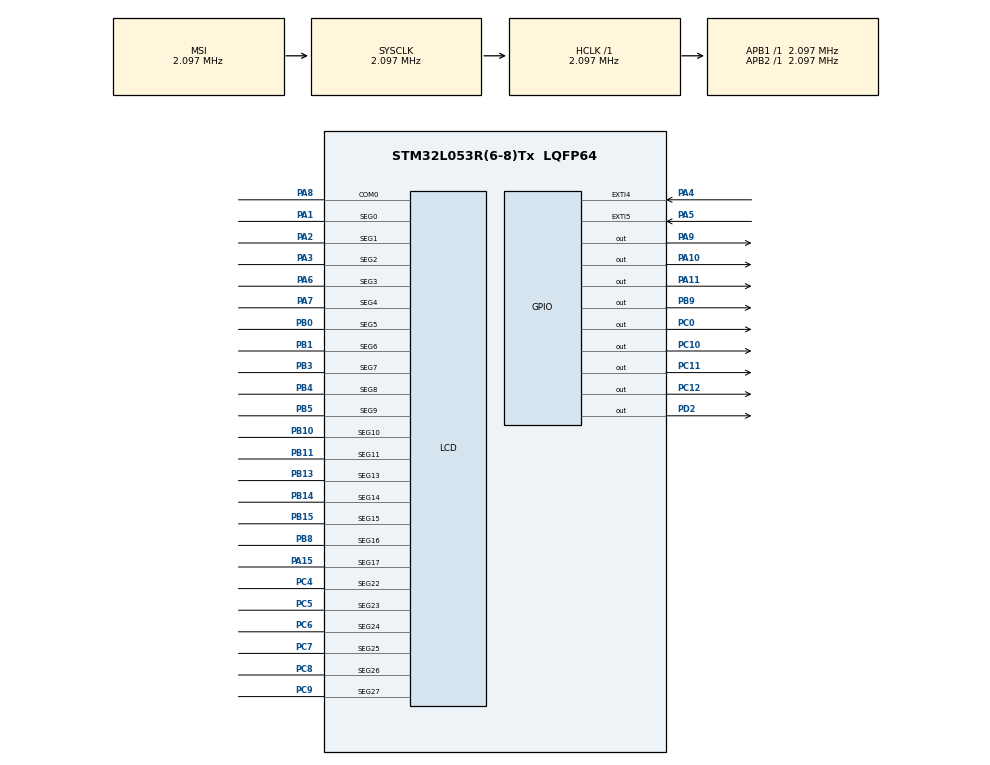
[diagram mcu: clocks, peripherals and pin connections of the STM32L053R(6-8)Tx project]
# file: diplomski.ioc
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LCD.Divider=LCD_DIVIDER_17
LCD.PulseOnDuration=LCD_PULSEONDURATION_6
LCD.VoltageSource=LCD_VOLTAGESOURCE_EXTERNAL
Mcu.Family=STM32L0
Mcu.Name=STM32L053R(6-8)Tx
Mcu.Package=LQFP64
NVIC.EXTI4_15_IRQn=true\:0\:0\:false\:false\:true\:true\:true\:true
NVIC.TIM21_IRQn=true\:0\:0\:false\:false\:true\:true\:true\:true
NVIC.TIM22_IRQn=true\:0\:0\:false\:false\:true\:true\:true\:true
NVIC.TIM2_IRQn=true\:0\:0\:false\:false\:true\:true\:true\:true
PA1.Mode=SEG0
PA1.Signal=LCD_SEG0
PA10.GPIO_PuPd=GPIO_PULLDOWN
PA10.Signal=GPIO_Output
PA11.GPIO_PuPd=GPIO_PULLDOWN
PA11.Signal=GPIO_Output
PA13.Mode=Serial_Wire
PA13.Signal=SYS_SWDIO
PA14.Mode=Serial_Wire
PA14.Signal=SYS_SWCLK
PA15.Mode=SEG17
PA15.Signal=LCD_SEG17
PA2.Mode=SEG1
PA2.Signal=LCD_SEG1
PA3.Mode=SEG2
PA3.Signal=LCD_SEG2
PA4.GPIO_ModeDefaultEXTI=GPIO_MODE_IT_FALLING
PA4.Signal=GPXTI4
PA5.GPIO_ModeDefaultEXTI=GPIO_MODE_IT_FALLING
PA5.Signal=GPXTI5
PA6.Mode=SEG3
PA6.Signal=LCD_SEG3
PA7.Mode=SEG4
PA7.Signal=LCD_SEG4
PA8.Mode=Static
PA8.Signal=LCD_COM0
PA9.GPIO_PuPd=GPIO_PULLDOWN
PA9.Signal=GPIO_Output
PB0.Mode=SEG5
PB0.Signal=LCD_SEG5
PB1.Mode=SEG6
PB1.Signal=LCD_SEG6
PB10.Mode=SEG10
PB10.Signal=LCD_SEG10
PB11.Mode=SEG11
PB11.Signal=LCD_SEG11
PB13.Mode=SEG13
PB13.Signal=LCD_SEG13
PB14.Mode=SEG14
PB14.Signal=LCD_SEG14
PB15.Mode=SEG15
PB15.Signal=LCD_SEG15
PB3.Mode=SEG7
PB3.Signal=LCD_SEG7
PB4.Mode=SEG8
PB4.Signal=LCD_SEG8
PB5.Mode=SEG9
PB5.Signal=LCD_SEG9
PB8.Mode=SEG16
PB8.Signal=LCD_SEG16
PB9.GPIO_PuPd=GPIO_PULLDOWN
PB9.Signal=GPIO_Output
PC0.GPIO_PuPd=GPIO_PULLDOWN
PC0.Signal=GPIO_Output
PC10.GPIO_PuPd=GPIO_PULLDOWN
PC10.Signal=GPIO_Output
PC11.GPIO_PuPd=GPIO_PULLDOWN
PC11.Signal=GPIO_Output
PC12.GPIO_PuPd=GPIO_PULLDOWN
PC12.Signal=GPIO_Output
PC14-OSC32_IN.Mode=LSE-External-Oscillator
PC14-OSC32_IN.Signal=RCC_OSC32_IN
PC15-OSC32_OUT.Mode=LSE-External-Oscillator
PC15-OSC32_OUT.Signal=RCC_OSC32_OUT
PC4.Mode=SEG22
PC4.Signal=LCD_SEG22
PC5.Mode=SEG23
PC5.Signal=LCD_SEG23
PC6.Mode=SEG24
PC6.Signal=LCD_SEG24
PC7.Mode=SEG25
PC7.Signal=LCD_SEG25
PC8.Mode=SEG26
PC8.Signal=LCD_SEG26
PC9.Mode=SEG27
PC9.Signal=LCD_SEG27
PD2.GPIO_PuPd=GPIO_PULLDOWN
PD2.Signal=GPIO_Output
ProjectManager.HeapSize=0x200
ProjectManager.StackSize=0x400
ProjectManager.TargetToolchain=STM32CubeIDE
RCC.AHBFreq_Value=2097000
RCC.APB1Freq_Value=2097000
RCC.APB1TimFreq_Value=2097000
RCC.APB2Freq_Value=2097000
RCC.APB2TimFreq_Value=2097000
RCC.HSE_VALUE=8000000
RCC.HSI16_VALUE=16000000
RCC.HSI48_VALUE=48000000
RCC.HSI_VALUE=16000000
RCC.MSI_VALUE=2097000
RCC.SYSCLKFreq_VALUE=2097000
RCC.VCOOutputFreq_Value=48000000
TIM2.Period=200
TIM2.Prescaler=20970-1
TIM21.Period=100
TIM21.Prescaler=10-1
TIM22.Prescaler=64-1
VP_TIM21_VS_ClockSourceINT.Mode=Internal
VP_TIM22_VS_ClockSourceINT.Mode=Internal
VP_TIM2_VS_ClockSourceINT.Mode=Internal
board=custom

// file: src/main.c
/* USER CODE BEGIN Header */
/**
  ******************************************************************************
  * @file           : main.c
  * @brief          : Main program body
  ******************************************************************************
  * @attention
  *
  * Copyright (c) 2023 STMicroelectronics.
  * All rights reserved.
  *
  * This software is licensed under terms that can be found in the LICENSE file
  * in the root directory of this software component.
  * If no LICENSE file comes with this software, it is provided AS-IS.
  *
  ******************************************************************************
  */
/* USER CODE END Header */
#include "main.h"

/* USER CODE BEGIN PD */
#define UART_MESSAGE_CHARACTER_COUNT (5)

//DIGITS ARE COUNTED LEFT TO RIGHT, STARTING FROM 1
//DEFINE ACTIVE SEGMENTS FOR EACH DIGIT
#define LCD_DIGIT1_0	(0x00010307)
#define LCD_DIGIT1_1	(0x00000104)
#define LCD_DIGIT1_2	(0x08000303)
#define LCD_DIGIT1_3	(0x08000306)
#define LCD_DIGIT1_4	(0x08010104)
#define LCD_DIGIT1_5	(0x08010206)
#define LCD_DIGIT1_6	(0x08010207)
#define LCD_DIGIT1_7	(0x00000304)
#define LCD_DIGIT1_8	(0x08010307)
#define LCD_DIGIT1_9	(0x08010306)

//#define LCD_DP_1		(0x00000008)

#define LCD_DIGIT2_0	(0x06C20010)
#define LCD_DIGIT2_1	(0x02800000)
#define LCD_DIGIT2_2	(0x06400090)
#define LCD_DIGIT2_3	(0x06C00080)
#define LCD_DIGIT2_4	(0x02820080)
#define LCD_DIGIT2_5	(0x04C20080)
#define LCD_DIGIT2_6	(0x04C20090)
#define LCD_DIGIT2_7	(0x06800000)
#define LCD_DIGIT2_8	(0x06C20090)
#define LCD_DIGIT2_9	(0x06C20080)

#define LCD_DP_2		(0x00000020)

#define LCD_DIGIT3_0	(0x0000EC40)
#define LCD_DIGIT3_1	(0x00002800)
#define LCD_DIGIT3_2	(0x01006440)
#define LCD_DIGIT3_3	(0x01006C00)
#define LCD_DIGIT3_4	(0x0100A800)
#define LCD_DIGIT3_5	(0x0100CC00)
#define LCD_DIGIT3_6	(0x0100CC40)
#define LCD_DIGIT3_7	(0x00006800)
#define LCD_DIGIT3_8	(0x0100EC40)
#define LCD_DIGIT3_9	(0x0100EC00)

#define HTIM22_FREQUENCY	(32768)

#define WHEEL_CIRCUMFERENCE	(2.105)
/* USER CODE END PD */

LCD_HandleTypeDef hlcd;

TIM_HandleTypeDef htim2;
TIM_HandleTypeDef htim21;
TIM_HandleTypeDef htim22;

/* USER CODE BEGIN PV */
volatile uint8_t magnetCounter = 0;	//count magnet passes
volatile uint32_t rotationTimerCounts = 0;	//measure time it takes for (magnetCounter) times of the wheel rotation, in timer counts
volatile uint8_t timer2sFlag = 0;	//flag to indicate 2s timer has run out
volatile uint8_t TIM22startedFlag = 0;
/* USER CODE END PV */

void SystemClock_Config(void);
static void MX_GPIO_Init(void);
static void MX_TIM21_Init(void);
static void MX_LCD_Init(void);
static void MX_TIM2_Init(void);
static void MX_TIM22_Init(void);

int main(void)
{

  /* MCU Configuration--------------------------------------------------------*/

  /* Reset of all peripherals, Initializes the Flash interface and the Systick. */
  HAL_Init();

  /* Configure the system clock */
  SystemClock_Config();

  /* Initialize all configured peripherals */
  MX_GPIO_Init();
  MX_TIM21_Init();
  MX_LCD_Init();
  MX_TIM2_Init();
  MX_TIM22_Init();
  /* USER CODE BEGIN 2 */

  HAL_TIM_Base_Start_IT(&htim2); //start timer

  HAL_GPIO_WritePin(GPIOC, GPIO_PIN_0, GPIO_PIN_SET);		//keep device ON

  uint32_t lookupDigit1[10];								//initialize array that will server as a lookup table for DIGIT1
  uint32_t lookupDigit2[10];								//initialize array that will server as a lookup table for DIGIT2
  uint32_t lookupDigit3[10];								//initialize array that will server as a lookup table for DIGIT3

  uint8_t speedDigits[UART_MESSAGE_CHARACTER_COUNT];	//initialize array containing the UART message
  uint8_t localMagnetCounter = 0;						//initialize local magnet pass counter

  float speed;

  speedDigits[0] = '0';
  speedDigits[1] = '0';
  speedDigits[2] = '.';
  speedDigits[3] = '0';
  speedDigits[4] = '\n';

  lookupDigit1[0] = LCD_DIGIT1_0;
  lookupDigit1[1] = LCD_DIGIT1_1;
  lookupDigit1[2] = LCD_DIGIT1_2;
  lookupDigit1[3] = LCD_DIGIT1_3;
  lookupDigit1[4] = LCD_DIGIT1_4;
  lookupDigit1[5] = LCD_DIGIT1_5;
  lookupDigit1[6] = LCD_DIGIT1_6;
  lookupDigit1[7] = LCD_DIGIT1_7;
  lookupDigit1[8] = LCD_DIGIT1_8;
  lookupDigit1[9] = LCD_DIGIT1_9;

  lookupDigit2[0] = LCD_DIGIT2_0;
  lookupDigit2[1] = LCD_DIGIT2_1;
  lookupDigit2[2] = LCD_DIGIT2_2;
  lookupDigit2[3] = LCD_DIGIT2_3;
  lookupDigit2[4] = LCD_DIGIT2_4;
  lookupDigit2[5] = LCD_DIGIT2_5;
  lookupDigit2[6] = LCD_DIGIT2_6;
  lookupDigit2[7] = LCD_DIGIT2_7;
  lookupDigit2[8] = LCD_DIGIT2_8;
  lookupDigit2[9] = LCD_DIGIT2_9;

  lookupDigit3[0] = LCD_DIGIT3_0;
  lookupDigit3[1] = LCD_DIGIT3_1;
  lookupDigit3[2] = LCD_DIGIT3_2;
  lookupDigit3[3] = LCD_DIGIT3_3;
  lookupDigit3[4] = LCD_DIGIT3_4;
  lookupDigit3[5] = LCD_DIGIT3_5;
  lookupDigit3[6] = LCD_DIGIT3_6;
  lookupDigit3[7] = LCD_DIGIT3_7;
  lookupDigit3[8] = LCD_DIGIT3_8;
  lookupDigit3[9] = LCD_DIGIT3_9;

  uint8_t digit1 = 0;
  uint8_t digit2 = 0;
  uint8_t digit3 = 0;

  float rotationTime = 0;	//The time it took to complete (magnetCounter) wheel rotation cycles
  HAL_GPIO_WritePin(GPIOB, GPIO_PIN_9, GPIO_PIN_SET);
  HAL_GPIO_WritePin(GPIOA, GPIO_PIN_11, GPIO_PIN_SET);
  /* USER CODE END 2 */

  /* Infinite loop */
  while (1)
  {
	  __disable_irq();	//disable interrupts while reading the two second timer flag
	  if(timer2sFlag){
		  localMagnetCounter = magnetCounter;					//copy magnet pass counter to local variable
		  magnetCounter = 0;									//reset magnet counter
		  timer2sFlag = 0;										//clear flag
		  rotationTime = (float)rotationTimerCounts/(32764);	//calculate total time it took to complete (magnetCounter) rotations
		  rotationTimerCounts=0;								//reset the rotation timer counter
		  __enable_irq();										//enable interrupts only after finishing access to the shared variables

		  //speed = localMagnetCounter*1.0525;	//calculate speed based on the number of magnet passes within the two second interval.
												//1.0525 comes from: D*pi/2s, where D is the wheel diameter, 0.67m

		  if(rotationTime == 0){
			  speed = 0;
			  //speed = (localMagnetCounter*WHEEL_CIRCUMFERENCE)/2;
		  }
		  else{
			  speed = (localMagnetCounter*WHEEL_CIRCUMFERENCE)/rotationTime;	//SPEED IS IN m/s!!!
		  }

		  //convert speed to KM/H
		  speed = speed*3.6;

		  // Extract the last two digits before the decimal
		  digit1= ((int)speed / 10) % 10;	//convert calculated digits to their ascii code by adding ascii code for '0'
		  speedDigits[0] = digit1 + '0';

		  digit2 = (int)speed % 10;
		  speedDigits[1] = digit2 + '0';

		  // Extract the first digit after the decimal point
		  digit3 = ((int)(speed * 10) % 10);
		  speedDigits[3] = digit3 + '0';

		  //HAL_UART_Transmit(&huart2, speedDigits, UART_MESSAGE_CHARACTER_COUNT, 100);

		  //write digits on LCD
		  HAL_LCD_Write(&hlcd, LCD_RAM_REGISTER0, ~0xFFFFFFFF, 0);	//clear RAM
		  HAL_LCD_Write(&hlcd, LCD_RAM_REGISTER0, ~0xFFFFFFFF, (lookupDigit1[digit1] | lookupDigit2[digit2] | lookupDigit3[digit3] | LCD_DP_2));
		  HAL_LCD_UpdateDisplayRequest(&hlcd);
	  }
	  else{
		  __enable_irq();	//enable interrupts immediately after reading flag if flag was not set
	  }

	  HAL_Delay(5);
  }
}

void SystemClock_Config(void)
{
  RCC_OscInitTypeDef RCC_OscInitStruct = {0};
  RCC_ClkInitTypeDef RCC_ClkInitStruct = {0};
  RCC_PeriphCLKInitTypeDef PeriphClkInit = {0};

  /** Configure the main internal regulator output voltage
  */
  __HAL_PWR_VOLTAGESCALING_CONFIG(PWR_REGULATOR_VOLTAGE_SCALE1);

  /** Initializes the RCC Oscillators according to the specified parameters
  * in the RCC_OscInitTypeDef structure.
  */
  RCC_OscInitStruct.OscillatorType = RCC_OSCILLATORTYPE_LSI|RCC_OSCILLATORTYPE_MSI;
  RCC_OscInitStruct.LSIState = RCC_LSI_ON;
  RCC_OscInitStruct.MSIState = RCC_MSI_ON;
  RCC_OscInitStruct.MSICalibrationValue = 0;
  RCC_OscInitStruct.MSIClockRange = RCC_MSIRANGE_5;
  RCC_OscInitStruct.PLL.PLLState = RCC_PLL_NONE;
  if (HAL_RCC_OscConfig(&RCC_OscInitStruct) != HAL_OK)
  {
    Error_Handler();
  }

  /** Initializes the CPU, AHB and APB buses clocks
  */
  RCC_ClkInitStruct.ClockType = RCC_CLOCKTYPE_HCLK|RCC_CLOCKTYPE_SYSCLK
                              |RCC_CLOCKTYPE_PCLK1|RCC_CLOCKTYPE_PCLK2;
  RCC_ClkInitStruct.SYSCLKSource = RCC_SYSCLKSOURCE_MSI;
  RCC_ClkInitStruct.AHBCLKDivider = RCC_SYSCLK_DIV1;
  RCC_ClkInitStruct.APB1CLKDivider = RCC_HCLK_DIV1;
  RCC_ClkInitStruct.APB2CLKDivider = RCC_HCLK_DIV1;

  if (HAL_RCC_ClockConfig(&RCC_ClkInitStruct, FLASH_LATENCY_0) != HAL_OK)
  {
    Error_Handler();
  }
  PeriphClkInit.PeriphClockSelection = RCC_PERIPHCLK_RTC;
  PeriphClkInit.RTCClockSelection = RCC_RTCCLKSOURCE_LSI;
  if (HAL_RCCEx_PeriphCLKConfig(&PeriphClkInit) != HAL_OK)
  {
    Error_Handler();
  }
}

static void MX_LCD_Init(void)
{

  hlcd.Instance = LCD;
  hlcd.Init.Prescaler = LCD_PRESCALER_1;
  hlcd.Init.Divider = LCD_DIVIDER_17;
  hlcd.Init.Duty = LCD_DUTY_STATIC;
  hlcd.Init.Bias = LCD_BIAS_1_4;
  hlcd.Init.VoltageSource = LCD_VOLTAGESOURCE_EXTERNAL;
  hlcd.Init.Contrast = LCD_CONTRASTLEVEL_0;
  hlcd.Init.DeadTime = LCD_DEADTIME_0;
  hlcd.Init.PulseOnDuration = LCD_PULSEONDURATION_6;
  hlcd.Init.HighDrive = LCD_HIGHDRIVE_0;
  hlcd.Init.BlinkMode = LCD_BLINKMODE_OFF;
  hlcd.Init.BlinkFrequency = LCD_BLINKFREQUENCY_DIV8;
  hlcd.Init.MuxSegment = LCD_MUXSEGMENT_DISABLE;
  if (HAL_LCD_Init(&hlcd) != HAL_OK)
  {
    Error_Handler();
  }

}

static void MX_TIM2_Init(void)
{

  TIM_ClockConfigTypeDef sClockSourceConfig = {0};
  TIM_MasterConfigTypeDef sMasterConfig = {0};

  htim2.Instance = TIM2;
  htim2.Init.Prescaler = 20970-1;
  htim2.Init.CounterMode = TIM_COUNTERMODE_UP;
  htim2.Init.Period = 200;
  htim2.Init.ClockDivision = TIM_CLOCKDIVISION_DIV1;
  htim2.Init.AutoReloadPreload = TIM_AUTORELOAD_PRELOAD_DISABLE;
  if (HAL_TIM_Base_Init(&htim2) != HAL_OK)
  {
    Error_Handler();
  }
  sClockSourceConfig.ClockSource = TIM_CLOCKSOURCE_INTERNAL;
  if (HAL_TIM_ConfigClockSource(&htim2, &sClockSourceConfig) != HAL_OK)
  {
    Error_Handler();
  }
  sMasterConfig.MasterOutputTrigger = TIM_TRGO_RESET;
  sMasterConfig.MasterSlaveMode = TIM_MASTERSLAVEMODE_DISABLE;
  if (HAL_TIMEx_MasterConfigSynchronization(&htim2, &sMasterConfig) != HAL_OK)
  {
    Error_Handler();
  }

}

static void MX_TIM21_Init(void)
{

  TIM_ClockConfigTypeDef sClockSourceConfig = {0};
  TIM_MasterConfigTypeDef sMasterConfig = {0};

  htim21.Instance = TIM21;
  htim21.Init.Prescaler = 10-1;
  htim21.Init.CounterMode = TIM_COUNTERMODE_UP;
  htim21.Init.Period = 100;
  htim21.Init.ClockDivision = TIM_CLOCKDIVISION_DIV1;
  htim21.Init.AutoReloadPreload = TIM_AUTORELOAD_PRELOAD_DISABLE;
  if (HAL_TIM_Base_Init(&htim21) != HAL_OK)
  {
    Error_Handler();
  }
  sClockSourceConfig.ClockSource = TIM_CLOCKSOURCE_INTERNAL;
  if (HAL_TIM_ConfigClockSource(&htim21, &sClockSourceConfig) != HAL_OK)
  {
    Error_Handler();
  }
  sMasterConfig.MasterOutputTrigger = TIM_TRGO_RESET;
  sMasterConfig.MasterSlaveMode = TIM_MASTERSLAVEMODE_DISABLE;
  if (HAL_TIMEx_MasterConfigSynchronization(&htim21, &sMasterConfig) != HAL_OK)
  {
    Error_Handler();
  }

}

static void MX_TIM22_Init(void)
{

  TIM_ClockConfigTypeDef sClockSourceConfig = {0};
  TIM_MasterConfigTypeDef sMasterConfig = {0};

  htim22.Instance = TIM22;
  htim22.Init.Prescaler = 64-1;
  htim22.Init.CounterMode = TIM_COUNTERMODE_UP;
  htim22.Init.Period = 65535;
  htim22.Init.ClockDivision = TIM_CLOCKDIVISION_DIV1;
  htim22.Init.AutoReloadPreload = TIM_AUTORELOAD_PRELOAD_DISABLE;
  if (HAL_TIM_Base_Init(&htim22) != HAL_OK)
  {
    Error_Handler();
  }
  sClockSourceConfig.ClockSource = TIM_CLOCKSOURCE_INTERNAL;
  if (HAL_TIM_ConfigClockSource(&htim22, &sClockSourceConfig) != HAL_OK)
  {
    Error_Handler();
  }
  sMasterConfig.MasterOutputTrigger = TIM_TRGO_RESET;
  sMasterConfig.MasterSlaveMode = TIM_MASTERSLAVEMODE_DISABLE;
  if (HAL_TIMEx_MasterConfigSynchronization(&htim22, &sMasterConfig) != HAL_OK)
  {
    Error_Handler();
  }

}

static void MX_GPIO_Init(void)
{
  GPIO_InitTypeDef GPIO_InitStruct = {0};

  /* GPIO Ports Clock Enable */
  __HAL_RCC_GPIOC_CLK_ENABLE();
  __HAL_RCC_GPIOA_CLK_ENABLE();
  __HAL_RCC_GPIOB_CLK_ENABLE();
  __HAL_RCC_GPIOD_CLK_ENABLE();

  /*Configure GPIO pin Output Level */
  HAL_GPIO_WritePin(GPIOC, GPIO_PIN_0|GPIO_PIN_10|GPIO_PIN_11|GPIO_PIN_12, GPIO_PIN_RESET);

  /*Configure GPIO pin Output Level */
  HAL_GPIO_WritePin(GPIOA, GPIO_PIN_9|GPIO_PIN_10|GPIO_PIN_11, GPIO_PIN_RESET);

  /*Configure GPIO pin Output Level */
  HAL_GPIO_WritePin(GPIOD, GPIO_PIN_2, GPIO_PIN_RESET);

  /*Configure GPIO pin Output Level */
  HAL_GPIO_WritePin(GPIOB, GPIO_PIN_9, GPIO_PIN_RESET);

  /*Configure GPIO pins : PC0 PC10 PC11 PC12 */
  GPIO_InitStruct.Pin = GPIO_PIN_0|GPIO_PIN_10|GPIO_PIN_11|GPIO_PIN_12;
  GPIO_InitStruct.Mode = GPIO_MODE_OUTPUT_PP;
  GPIO_InitStruct.Pull = GPIO_PULLDOWN;
  GPIO_InitStruct.Speed = GPIO_SPEED_FREQ_LOW;
  HAL_GPIO_Init(GPIOC, &GPIO_InitStruct);

  /*Configure GPIO pins : PA4 PA5 */
  GPIO_InitStruct.Pin = GPIO_PIN_4|GPIO_PIN_5;
  GPIO_InitStruct.Mode = GPIO_MODE_IT_FALLING;
  GPIO_InitStruct.Pull = GPIO_NOPULL;
  HAL_GPIO_Init(GPIOA, &GPIO_InitStruct);

  /*Configure GPIO pins : PA9 PA10 PA11 */
  GPIO_InitStruct.Pin = GPIO_PIN_9|GPIO_PIN_10|GPIO_PIN_11;
  GPIO_InitStruct.Mode = GPIO_MODE_OUTPUT_PP;
  GPIO_InitStruct.Pull = GPIO_PULLDOWN;
  GPIO_InitStruct.Speed = GPIO_SPEED_FREQ_LOW;
  HAL_GPIO_Init(GPIOA, &GPIO_InitStruct);

  /*Configure GPIO pin : PD2 */
  GPIO_InitStruct.Pin = GPIO_PIN_2;
  GPIO_InitStruct.Mode = GPIO_MODE_OUTPUT_PP;
  GPIO_InitStruct.Pull = GPIO_PULLDOWN;
  GPIO_InitStruct.Speed = GPIO_SPEED_FREQ_LOW;
  HAL_GPIO_Init(GPIOD, &GPIO_InitStruct);

  /*Configure GPIO pin : PB9 */
  GPIO_InitStruct.Pin = GPIO_PIN_9;
  GPIO_InitStruct.Mode = GPIO_MODE_OUTPUT_PP;
  GPIO_InitStruct.Pull = GPIO_PULLDOWN;
  GPIO_InitStruct.Speed = GPIO_SPEED_FREQ_LOW;
  HAL_GPIO_Init(GPIOB, &GPIO_InitStruct);

  /* EXTI interrupt init*/
  HAL_NVIC_SetPriority(EXTI4_15_IRQn, 0, 0);
  HAL_NVIC_EnableIRQ(EXTI4_15_IRQn);

}

/* USER CODE BEGIN 4 */
void HAL_GPIO_EXTI_Callback(uint16_t GPIO_Pin){

	if (GPIO_Pin == GPIO_PIN_5){	//check if interrupt came from pin 5 (no need to check the port as PA5 is currently the only 0th pin in any port used for interrupts)

		__HAL_TIM_SET_COUNTER(&htim21, 0);	// Reset the timer to count from 0 each time there is an interrupt on PA0
		HAL_TIM_Base_Start_IT(&htim21);  // Start the timer WITH interrupt capability (does nothing if timer is already started)
	}
	if (GPIO_Pin == GPIO_PIN_4){
		HAL_GPIO_WritePin(GPIOC, GPIO_PIN_0, GPIO_PIN_RESET);		//latch device OFF
	}

}
void HAL_TIM_PeriodElapsedCallback(TIM_HandleTypeDef *htim){
	if(htim->Instance == TIM2){ //if timer 2 created the interrupt
		timer2sFlag = 1;
		//HAL_GPIO_TogglePin(GPIOA, GPIO_PIN_2);
	}
	if(htim->Instance == TIM21){
		if (HAL_GPIO_ReadPin(GPIOA, GPIO_PIN_5) == GPIO_PIN_SET) {	//check state of PA0 (REED is connected to this pin)
			// The pin is in a high logic state - REED SWITCH OPEN
			HAL_TIM_Base_Stop(&htim21);	//stop the debounce timer

			//do nothing else
		}
		else {
			// The pin is in a low logic state - REED SWITCH CLOSED
			HAL_TIM_Base_Stop(&htim21);	//stop the debounce timer

			//measure time between two consecutive magnet passes:
			if(TIM22startedFlag){	//timer TIM22 already started
				rotationTimerCounts = rotationTimerCounts + __HAL_TIM_GetCounter(&htim22);
				magnetCounter++;

				HAL_TIM_Base_Stop(&htim22);
				__HAL_TIM_SET_COUNTER(&htim22, 0);	// Reset the timer
				HAL_TIM_Base_Start_IT(&htim22);  	// Start the timer WITH interrupt capability

			}
			else{
				__HAL_TIM_SET_COUNTER(&htim22, 0);	// Reset the timer
				HAL_TIM_Base_Start_IT(&htim22);  // Start the timer WITH interrupt capability

				TIM22startedFlag = 1;

			}
		}
	}
  if(htim->Instance == TIM22){
	  //if TIM22 has run out (after 2s), stop and reset it. Do not restart.
	  HAL_TIM_Base_Stop(&htim22);
	  __HAL_TIM_SET_COUNTER(&htim22, 0);	// Reset the timer

	  TIM22startedFlag = 0;
  }

}

/* USER CODE END 4 */

void Error_Handler(void)
{
  __disable_irq();
  while (1)
  {
  }
}
